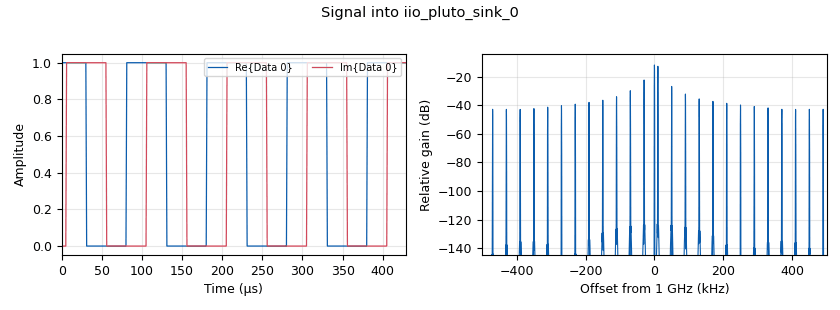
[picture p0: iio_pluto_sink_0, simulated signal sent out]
options:
  parameters:
    generate_options: qt_gui
    id: adalm_loopback_square
    output_language: python
    title: adalm_loopback_square
  states: {}

blocks:
- name: URI
  id: variable
  parameters:
    value: '"192.168.2.1"'
  states: {}
- name: samp_rate
  id: variable
  parameters:
    value: '1000000'
  states: {}
- name: analog_sig_source_x_0
  id: analog_sig_source_x
  parameters:
    amp: '1'
    freq: '10000'
    offset: '0'
    phase: '0'
    samp_rate: samp_rate
    type: complex
    waveform: analog.GR_SQR_WAVE
  states: {}
- name: iio_pluto_sink_0
  id: iio_pluto_sink
  parameters:
    attenuation1: '10.0'
    bandwidth: samp_rate
    buffer_size: '32768'
    cyclic: 'True'
    filter_source: '''Auto'''
    frequency: '1000000000'
    samplerate: samp_rate
    type: fc32
    uri: URI
  states: {}
- name: iio_pluto_source_0
  id: iio_pluto_source
  parameters:
    bandwidth: samp_rate
    bbdc: 'False'
    buffer_size: '32768'
    filter_source: '''Auto'''
    frequency: '1000000000'
    gain1: '''manual'''
    manual_gain1: '10'
    quadrature: 'True'
    rfdc: 'False'
    samplerate: samp_rate
    type: fc32
    uri: URI
  states: {}
- name: qtgui_sink_x_0
  id: qtgui_sink_x
  parameters:
    bw: samp_rate
    fc: '0'
    fftsize: '2048'
    name: '"Receiver"'
    type: complex
    wintype: window.WIN_HAMMING
  states: {}
- name: qtgui_sink_x_1
  id: qtgui_sink_x
  parameters:
    bw: samp_rate
    fc: '0'
    fftsize: '2048'
    name: '"Transmitter"'
    type: complex
    wintype: window.WIN_HAMMING
  states: {state: disabled}

connections:
- [analog_sig_source_x_0, '0', iio_pluto_sink_0, '0']
- [analog_sig_source_x_0, '0', qtgui_sink_x_1, '0']
- [iio_pluto_source_0, '0', qtgui_sink_x_0, '0']

metadata:
  file_format: 1
